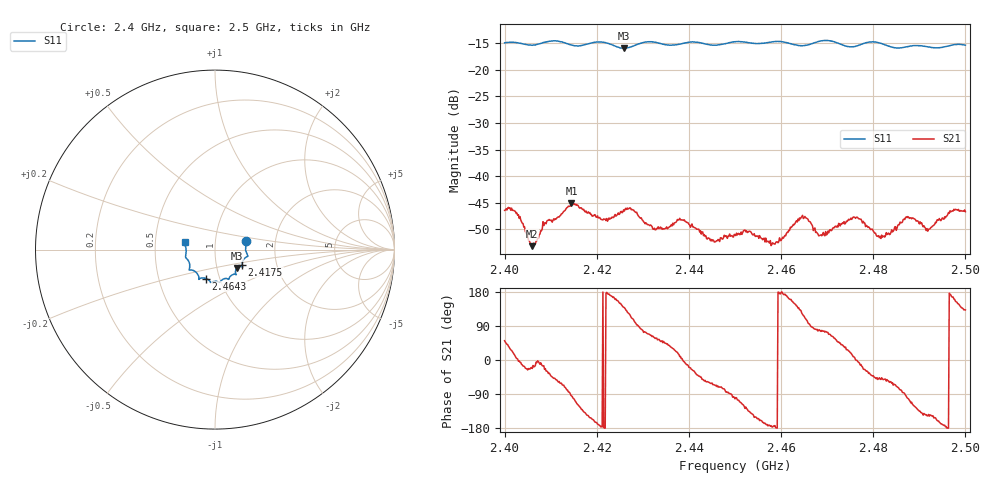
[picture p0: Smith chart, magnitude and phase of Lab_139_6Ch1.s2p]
# Hz S RI R 50
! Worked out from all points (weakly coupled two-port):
!   601 points, 2.4 GHz to 2.5 GHz, reference 50 ohm
!   highest |S21| = -45.13 dB at 2.4145 GHz (marker M1); lowest = -53.2 dB at 2.406 GHz (marker M2)
!   lowest |S11| = -15.9 dB at 2.4258 GHz (marker M3), VSWR 1.38, Z = 62.4 - j13.1 ohm
!   |S11| at or under -10 dB: start of sweep to end of sweep
!   S12 and S22 are empty: the file has one direction only
!   S11 on the Smith chart (normalised r, x): 2.4 GHz: 1.41, +0.14; 2.4175 GHz: 1.33, -0.23; 2.4643 GHz: 0.86, -0.29; 2.5 GHz: 0.71, +0.06
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2.4e9  0.1727 0.0481  0.00301 0.0037  0 0  0 0
2.402833e9  0.1757 0.0362  0.00428 0.000197  0 0  0 0
2.406e9  0.17 0.00289  0.00203 -0.000835  0 0  0 0
2.408833e9  0.18 -0.0278  0.00335 -0.0014  0 0  0 0
2.4145e9  0.1635 -0.05  -0.000461 -0.00552  0 0  0 0
2.416667e9  0.1523 -0.0733  -0.00326 -0.00384  0 0  0 0
2.4175e9  0.1511 -0.0831  -0.0035 -0.003  0 0  0 0
2.421833e9  0.1526 -0.0961  -0.00395 -1.97e-05  0 0  0 0
2.425833e9  0.1222 -0.1024  -0.00366 0.00314  0 0  0 0
2.433333e9  0.1139 -0.1375  0.00197 0.00269  0 0  0 0
2.4385e9  0.0801 -0.1568  0.00386 0.000263  0 0  0 0
2.445167e9  0.055 -0.1613  0.00107 -0.00228  0 0  0 0
2.45e9  0.028 -0.1817  -0.000613 -0.00276  0 0  0 0
2.458333e9  -0.0214 -0.1825  -0.0023 -0.000236  0 0  0 0
2.464333e9  -0.0494 -0.1611  -0.0026 0.00313  0 0  0 0
2.466667e9  -0.0761 -0.1587  0.000178 0.0035  0 0  0 0
2.469e9  -0.0894 -0.1653  0.000653 0.00275  0 0  0 0
2.476167e9  -0.1178 -0.1177  0.00401 6.87e-06  0 0  0 0
2.483333e9  -0.1405 -0.0903  0.00166 -0.00239  0 0  0 0
2.487167e9  -0.1557 -0.053  -0.000422 -0.00411  0 0  0 0
2.491833e9  -0.1621 -0.0274  -0.00256 -0.00163  0 0  0 0
2.5e9  -0.1648 0.0437  -0.0031 0.00344  0 0  0 0
